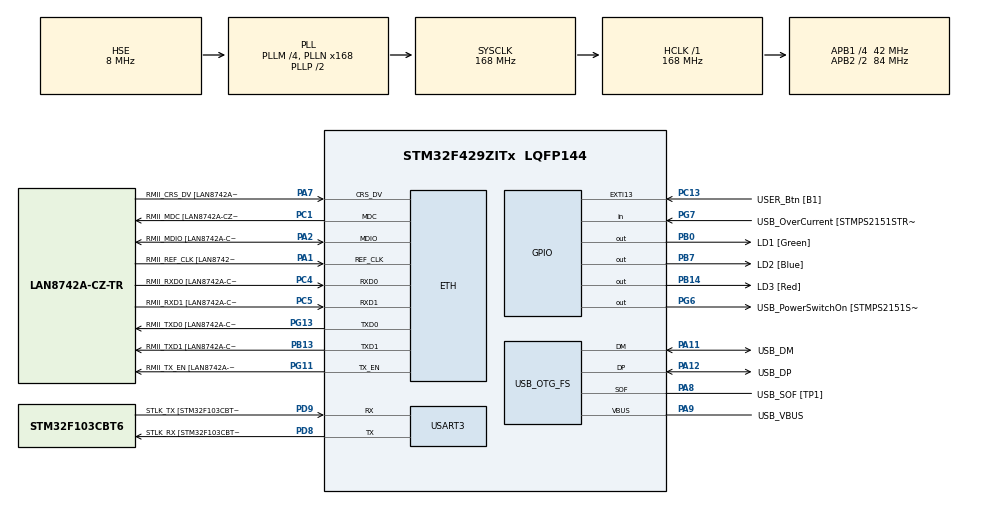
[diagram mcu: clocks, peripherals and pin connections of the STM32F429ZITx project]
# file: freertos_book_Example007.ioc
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ETH.MediaInterface=HAL_ETH_RMII_MODE
ETH.PHY_Name=LAN8742A_PHY_ADDRESS
ETH.PHY_Value=0
ETH.PhyAddress=0
FREERTOS.MEMORY_ALLOCATION=0
FREERTOS.Tasks01=defaultTask,0,128,StartDefaultTask,Default,NULL,Dynamic,NULL,NULL
FREERTOS.configUSE_IDLE_HOOK=1
FREERTOS.configUSE_NEWLIB_REENTRANT=1
Mcu.Family=STM32F4
Mcu.Name=STM32F429ZITx
Mcu.Package=LQFP144
NVIC.PriorityGroup=NVIC_PRIORITYGROUP_4
NVIC.TIM7_IRQn=true\:15\:0\:false\:false\:true\:false\:false\:true\:true
NVIC.TimeBase=TIM7_IRQn
NVIC.TimeBaseIP=TIM7
PA1.GPIO_Label=RMII_REF_CLK [LAN8742A-CZ-TR_REFCLK0]
PA1.Mode=RMII
PA1.Signal=ETH_REF_CLK
PA10.GPIO_Label=USB_ID
PA10.Signal=USB_OTG_FS_ID
PA11.GPIO_Label=USB_DM
PA11.Mode=Device_Only
PA11.Signal=USB_OTG_FS_DM
PA12.GPIO_Label=USB_DP
PA12.Mode=Device_Only
PA12.Signal=USB_OTG_FS_DP
PA13.GPIO_Label=TMS
PA13.Mode=Serial_Wire
PA13.Signal=SYS_JTMS-SWDIO
PA14.GPIO_Label=TCK
PA14.Mode=Serial_Wire
PA14.Signal=SYS_JTCK-SWCLK
PA2.GPIO_Label=RMII_MDIO [LAN8742A-CZ-TR_MDIO]
PA2.Mode=RMII
PA2.Signal=ETH_MDIO
PA7.GPIO_Label=RMII_CRS_DV [LAN8742A-CZ-TR_CRS_DV]
PA7.Mode=RMII
PA7.Signal=ETH_CRS_DV
PA8.GPIO_Label=USB_SOF [TP1]
PA8.Mode=Activate_SOF_FS
PA8.Signal=USB_OTG_FS_SOF
PA9.GPIO_Label=USB_VBUS
PA9.Mode=Activate_VBUS
PA9.Signal=USB_OTG_FS_VBUS
PB0.GPIO_Label=LD1 [Green]
PB0.Signal=GPIO_Output
PB13.GPIO_Label=RMII_TXD1 [LAN8742A-CZ-TR_TXD1]
PB13.Mode=RMII
PB13.Signal=ETH_TXD1
PB14.GPIO_Label=LD3 [Red]
PB14.Signal=GPIO_Output
PB7.GPIO_Label=LD2 [Blue]
PB7.Signal=GPIO_Output
PC1.GPIO_Label=RMII_MDC [LAN8742A-CZ-TR_MDC]
PC1.Mode=RMII
PC1.Signal=ETH_MDC
PC13.GPIO_Label=USER_Btn [B1]
PC13.Signal=GPXTI13
PC14/OSC32_IN.Mode=LSE-External-Oscillator
PC14/OSC32_IN.Signal=RCC_OSC32_IN
PC15/OSC32_OUT.Mode=LSE-External-Oscillator
PC15/OSC32_OUT.Signal=RCC_OSC32_OUT
PC4.GPIO_Label=RMII_RXD0 [LAN8742A-CZ-TR_RXD0]
PC4.Mode=RMII
PC4.Signal=ETH_RXD0
PC5.GPIO_Label=RMII_RXD1 [LAN8742A-CZ-TR_RXD1]
PC5.Mode=RMII
PC5.Signal=ETH_RXD1
PD8.GPIO_Label=STLK_RX [STM32F103CBT6_PA3]
PD8.Mode=Asynchronous
PD8.Signal=USART3_TX
PD9.GPIO_Label=STLK_TX [STM32F103CBT6_PA2]
PD9.Mode=Asynchronous
PD9.Signal=USART3_RX
PG11.GPIO_Label=RMII_TX_EN [LAN8742A-CZ-TR_TXEN]
PG11.Mode=RMII
PG11.Signal=ETH_TX_EN
PG13.GPIO_Label=RMII_TXD0 [LAN8742A-CZ-TR_TXD0]
PG13.Mode=RMII
PG13.Signal=ETH_TXD0
PG6.GPIO_Label=USB_PowerSwitchOn [STMPS2151STR_EN]
PG6.Signal=GPIO_Output
PG7.GPIO_Label=USB_OverCurrent [STMPS2151STR_FAULT]
PG7.Signal=GPIO_Input
PH0/OSC_IN.GPIO_Label=MCO [STM32F103CBT6_PA8]
PH0/OSC_IN.Mode=HSE-External-Clock-Source
PH0/OSC_IN.Signal=RCC_OSC_IN
PH1/OSC_OUT.Mode=HSE-External-Clock-Source
PH1/OSC_OUT.Signal=RCC_OSC_OUT
ProjectManager.HeapSize=0x200
ProjectManager.StackSize=0x400
ProjectManager.TargetToolchain=STM32CubeIDE
RCC.48MHZClocksFreq_Value=48000000
RCC.AHBFreq_Value=168000000
RCC.APB1CLKDivider=RCC_HCLK_DIV4
RCC.APB1Freq_Value=42000000
RCC.APB1TimFreq_Value=84000000
RCC.APB2CLKDivider=RCC_HCLK_DIV2
RCC.APB2Freq_Value=84000000
RCC.APB2TimCLKDivider=2
RCC.APB2TimFreq_Value=168000000
RCC.CortexFreq_Value=168000000
RCC.HCLKFreq_Value=168000000
RCC.HSE_VALUE=8000000
RCC.HSI_VALUE=16000000
RCC.PLLM=4
RCC.PLLMUL=RCC_PLL_MUL9
RCC.PLLN=168
RCC.PLLQ=7
RCC.PRESCALERUSB=RCC_USBCLKSOURCE_PLL_DIV1_5
RCC.SYSCLKFreq_VALUE=168000000
RCC.SYSCLKSource=RCC_SYSCLKSOURCE_PLLCLK
RCC.SYSCLKSourceVirtual=RCC_SYSCLKSOURCE_PLLCLK
RCC.USBFreq_Value=48000000
RCC.VCOOutputFreq_Value=336000000
USART3.VirtualMode=VM_ASYNC
USB_OTG_FS.VirtualMode=Device_Only
VP_FREERTOS_VS_CMSIS_V1.Mode=CMSIS_V1
VP_SYS_VS_tim7.Mode=TIM7
board=NUCLEO-F429ZI

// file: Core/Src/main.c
/* USER CODE BEGIN Header */
/**
  ******************************************************************************
  * @file           : main.c
  * @brief          : Main program body
  ******************************************************************************
  * @attention
  *
  * Copyright (c) 2022 STMicroelectronics.
  * All rights reserved.
  *
  * This software is licensed under terms that can be found in the LICENSE file
  * in the root directory of this software component.
  * If no LICENSE file comes with this software, it is provided AS-IS.
  *
  ******************************************************************************
  */
/* USER CODE END Header */
#include "main.h"
#include "string.h"
#include "cmsis_os.h"

/* USER CODE BEGIN Includes */
/* Standard includes. */
#include <stdio.h>
#include <stdlib.h>

/* Demo includes. */
#include "supportingFunctions.h"

/* USER CODE END Includes */

/* USER CODE BEGIN PM */
/* Define the strings that will be passed in as the task parameters.  These are
defined const and off the stack to ensure they remain valid when the tasks are
executing. */
const char *pcTextForTask1 = "Task 1 is running\r\n";
const char *pcTextForTask2 = "Task 2 is running\r\n";

/* USER CODE END PM */

ETH_TxPacketConfig TxConfig;
ETH_DMADescTypeDef  DMARxDscrTab[ETH_RX_DESC_CNT]; /* Ethernet Rx DMA Descriptors */
ETH_DMADescTypeDef  DMATxDscrTab[ETH_TX_DESC_CNT]; /* Ethernet Tx DMA Descriptors */

ETH_HandleTypeDef heth;

UART_HandleTypeDef huart3;

PCD_HandleTypeDef hpcd_USB_OTG_FS;

osThreadId defaultTaskHandle;

void SystemClock_Config(void);
static void MX_GPIO_Init(void);
static void MX_ETH_Init(void);
static void MX_USART3_UART_Init(void);
static void MX_USB_OTG_FS_PCD_Init(void);
void StartDefaultTask(void const * argument);

/* USER CODE BEGIN PFP */
void vTaskFunction(void * pvParameters);

/* A variable that is incremented by the idle task hook function. */
static uint32_t ulIdleCycleCount = 0UL;

/* USER CODE END PFP */

int main(void)
{
  /* USER CODE BEGIN 1 */
	const char *pcTextForMain = "freertos_book_Example007 is running: Defining an idle task hook function\r\n\n";

  /* USER CODE END 1 */

  /* MCU Configuration--------------------------------------------------------*/

  /* Reset of all peripherals, Initializes the Flash interface and the Systick. */
  HAL_Init();

  /* Configure the system clock */
  SystemClock_Config();

  /* Initialize all configured peripherals */
  MX_GPIO_Init();
  MX_ETH_Init();
  MX_USART3_UART_Init();
  MX_USB_OTG_FS_PCD_Init();
  /* USER CODE BEGIN 2 */
	/* Print out the name of this Example. */
	vPrintString( pcTextForMain );

  /* USER CODE END 2 */

  /* Create the thread(s) */
  /* definition and creation of defaultTask */
  osThreadDef(defaultTask, StartDefaultTask, osPriorityNormal, 0, 128);
  defaultTaskHandle = osThreadCreate(osThread(defaultTask), NULL);

  /* USER CODE BEGIN RTOS_THREADS */
  /* add threads, ... */
	BaseType_t ret;

	/* Task 1 thread at priority 1 */
	ret = xTaskCreate( vTaskFunction,				/* Pointer to the function thats implement the task. */
					   "Task 1",					/* Text name for the task. This is to facilitate debugging only. */
					   (2 * configMINIMAL_STACK_SIZE),	/* Stack depth in words. 				*/
	                   (void*)pcTextForTask1,    	/* Pass the text to be printed in as the task parameter. */
					   (tskIDLE_PRIORITY + 1UL),	/* This task will run at priority 1. 		*/
		               NULL );                   	/* We are not using the task handle. */

	/* Check the task was created successfully. */
	configASSERT( ret == pdPASS );

	/* Task 2 thread at priority 2 */
	ret = xTaskCreate( vTaskFunction,				/* Pointer to the function thats implement the task. */
					   "Task 2",					/* Text name for the task. This is to facilitate debugging only. */
					   (2 * configMINIMAL_STACK_SIZE),	/* Stack depth in words. 				*/
	                   (void*)pcTextForTask2,    	/* Pass the text to be printed in as the task parameter. */
					   (tskIDLE_PRIORITY + 2UL),	/* This task will run at priority 2. 		*/
		               NULL );

	/* Check the task was created successfully. */
	configASSERT( ret == pdPASS );

  /* USER CODE END RTOS_THREADS */

  /* Start scheduler */
  osKernelStart();

  /* We should never get here as control is now taken by the scheduler */
  /* Infinite loop */
  while (1)
  {

  }
}

void SystemClock_Config(void)
{
  RCC_OscInitTypeDef RCC_OscInitStruct = {0};
  RCC_ClkInitTypeDef RCC_ClkInitStruct = {0};

  /** Configure the main internal regulator output voltage
  */
  __HAL_RCC_PWR_CLK_ENABLE();
  __HAL_PWR_VOLTAGESCALING_CONFIG(PWR_REGULATOR_VOLTAGE_SCALE1);

  /** Initializes the RCC Oscillators according to the specified parameters
  * in the RCC_OscInitTypeDef structure.
  */
  RCC_OscInitStruct.OscillatorType = RCC_OSCILLATORTYPE_HSE;
  RCC_OscInitStruct.HSEState = RCC_HSE_BYPASS;
  RCC_OscInitStruct.PLL.PLLState = RCC_PLL_ON;
  RCC_OscInitStruct.PLL.PLLSource = RCC_PLLSOURCE_HSE;
  RCC_OscInitStruct.PLL.PLLM = 4;
  RCC_OscInitStruct.PLL.PLLN = 168;
  RCC_OscInitStruct.PLL.PLLP = RCC_PLLP_DIV2;
  RCC_OscInitStruct.PLL.PLLQ = 7;
  if (HAL_RCC_OscConfig(&RCC_OscInitStruct) != HAL_OK)
  {
    Error_Handler();
  }

  /** Initializes the CPU, AHB and APB buses clocks
  */
  RCC_ClkInitStruct.ClockType = RCC_CLOCKTYPE_HCLK|RCC_CLOCKTYPE_SYSCLK
                              |RCC_CLOCKTYPE_PCLK1|RCC_CLOCKTYPE_PCLK2;
  RCC_ClkInitStruct.SYSCLKSource = RCC_SYSCLKSOURCE_PLLCLK;
  RCC_ClkInitStruct.AHBCLKDivider = RCC_SYSCLK_DIV1;
  RCC_ClkInitStruct.APB1CLKDivider = RCC_HCLK_DIV4;
  RCC_ClkInitStruct.APB2CLKDivider = RCC_HCLK_DIV2;

  if (HAL_RCC_ClockConfig(&RCC_ClkInitStruct, FLASH_LATENCY_5) != HAL_OK)
  {
    Error_Handler();
  }
}

static void MX_ETH_Init(void)
{

   static uint8_t MACAddr[6];

  heth.Instance = ETH;
  MACAddr[0] = 0x00;
  MACAddr[1] = 0x80;
  MACAddr[2] = 0xE1;
  MACAddr[3] = 0x00;
  MACAddr[4] = 0x00;
  MACAddr[5] = 0x00;
  heth.Init.MACAddr = &MACAddr[0];
  heth.Init.MediaInterface = HAL_ETH_RMII_MODE;
  heth.Init.TxDesc = DMATxDscrTab;
  heth.Init.RxDesc = DMARxDscrTab;
  heth.Init.RxBuffLen = 1524;

  if (HAL_ETH_Init(&heth) != HAL_OK)
  {
    Error_Handler();
  }

  memset(&TxConfig, 0 , sizeof(ETH_TxPacketConfig));
  TxConfig.Attributes = ETH_TX_PACKETS_FEATURES_CSUM | ETH_TX_PACKETS_FEATURES_CRCPAD;
  TxConfig.ChecksumCtrl = ETH_CHECKSUM_IPHDR_PAYLOAD_INSERT_PHDR_CALC;
  TxConfig.CRCPadCtrl = ETH_CRC_PAD_INSERT;

}

static void MX_USART3_UART_Init(void)
{

  huart3.Instance = USART3;
  huart3.Init.BaudRate = 115200;
  huart3.Init.WordLength = UART_WORDLENGTH_8B;
  huart3.Init.StopBits = UART_STOPBITS_1;
  huart3.Init.Parity = UART_PARITY_NONE;
  huart3.Init.Mode = UART_MODE_TX_RX;
  huart3.Init.HwFlowCtl = UART_HWCONTROL_NONE;
  huart3.Init.OverSampling = UART_OVERSAMPLING_16;
  if (HAL_UART_Init(&huart3) != HAL_OK)
  {
    Error_Handler();
  }

}

static void MX_USB_OTG_FS_PCD_Init(void)
{

  hpcd_USB_OTG_FS.Instance = USB_OTG_FS;
  hpcd_USB_OTG_FS.Init.dev_endpoints = 4;
  hpcd_USB_OTG_FS.Init.speed = PCD_SPEED_FULL;
  hpcd_USB_OTG_FS.Init.dma_enable = DISABLE;
  hpcd_USB_OTG_FS.Init.phy_itface = PCD_PHY_EMBEDDED;
  hpcd_USB_OTG_FS.Init.Sof_enable = ENABLE;
  hpcd_USB_OTG_FS.Init.low_power_enable = DISABLE;
  hpcd_USB_OTG_FS.Init.lpm_enable = DISABLE;
  hpcd_USB_OTG_FS.Init.vbus_sensing_enable = ENABLE;
  hpcd_USB_OTG_FS.Init.use_dedicated_ep1 = DISABLE;
  if (HAL_PCD_Init(&hpcd_USB_OTG_FS) != HAL_OK)
  {
    Error_Handler();
  }

}

static void MX_GPIO_Init(void)
{
  GPIO_InitTypeDef GPIO_InitStruct = {0};

  /* GPIO Ports Clock Enable */
  __HAL_RCC_GPIOC_CLK_ENABLE();
  __HAL_RCC_GPIOH_CLK_ENABLE();
  __HAL_RCC_GPIOA_CLK_ENABLE();
  __HAL_RCC_GPIOB_CLK_ENABLE();
  __HAL_RCC_GPIOD_CLK_ENABLE();
  __HAL_RCC_GPIOG_CLK_ENABLE();

  /*Configure GPIO pin Output Level */
  HAL_GPIO_WritePin(GPIOB, LD1_Pin|LD3_Pin|LD2_Pin, GPIO_PIN_RESET);

  /*Configure GPIO pin Output Level */
  HAL_GPIO_WritePin(USB_PowerSwitchOn_GPIO_Port, USB_PowerSwitchOn_Pin, GPIO_PIN_RESET);

  /*Configure GPIO pin : USER_Btn_Pin */
  GPIO_InitStruct.Pin = USER_Btn_Pin;
  GPIO_InitStruct.Mode = GPIO_MODE_IT_RISING;
  GPIO_InitStruct.Pull = GPIO_NOPULL;
  HAL_GPIO_Init(USER_Btn_GPIO_Port, &GPIO_InitStruct);

  /*Configure GPIO pins : LD1_Pin LD3_Pin LD2_Pin */
  GPIO_InitStruct.Pin = LD1_Pin|LD3_Pin|LD2_Pin;
  GPIO_InitStruct.Mode = GPIO_MODE_OUTPUT_PP;
  GPIO_InitStruct.Pull = GPIO_NOPULL;
  GPIO_InitStruct.Speed = GPIO_SPEED_FREQ_LOW;
  HAL_GPIO_Init(GPIOB, &GPIO_InitStruct);

  /*Configure GPIO pin : USB_PowerSwitchOn_Pin */
  GPIO_InitStruct.Pin = USB_PowerSwitchOn_Pin;
  GPIO_InitStruct.Mode = GPIO_MODE_OUTPUT_PP;
  GPIO_InitStruct.Pull = GPIO_NOPULL;
  GPIO_InitStruct.Speed = GPIO_SPEED_FREQ_LOW;
  HAL_GPIO_Init(USB_PowerSwitchOn_GPIO_Port, &GPIO_InitStruct);

  /*Configure GPIO pin : USB_OverCurrent_Pin */
  GPIO_InitStruct.Pin = USB_OverCurrent_Pin;
  GPIO_InitStruct.Mode = GPIO_MODE_INPUT;
  GPIO_InitStruct.Pull = GPIO_NOPULL;
  HAL_GPIO_Init(USB_OverCurrent_GPIO_Port, &GPIO_InitStruct);

}

/* USER CODE BEGIN 4 */
/* Idle hook functions MUST be called vApplicationIdleHook(), take no parameters,
and return void. */
void vApplicationIdleHook( void )
{
	/* This hook function does nothing but increment a counter. */
	ulIdleCycleCount++;
}

/* USER CODE BEGIN Header_vTaskFunction */
/**
  * @brief  Function implementing the Task1 thread.
  * @param  argument: Not used
  * @retval None
  */
/* USER CODE END Header_vTaskFunction */
void vTaskFunction( void * pvParameters )
{
	char *pcTaskName;
	const TickType_t xDelay250ms = pdMS_TO_TICKS( 250UL );

	/* The string to print out is passed in via the parameter.  Cast this to a
	character pointer. */
	pcTaskName = ( char * ) pvParameters;

	/* As per most tasks, this task is implemented in an infinite loop. */
	for( ;; )
	{
		/* Print out the name of this task AND the number of times ulIdleCycleCount
	    has been incremented. */
		vPrintStringAndNumber( pcTaskName, ulIdleCycleCount );

	    /* Delay for a period.  This time we use a call to vTaskDelay() which
	    puts the task into the Blocked state until the delay period has expired.
	    The delay period is specified in 'ticks'. */
	    vTaskDelay( xDelay250ms );
	}
}

/* USER CODE END 4 */

void StartDefaultTask(void const * argument)
{
  /* USER CODE BEGIN 5 */
  /* Infinite loop */
  for(;;)
  {
    osDelay(50000);
  }
  /* USER CODE END 5 */
}

void HAL_TIM_PeriodElapsedCallback(TIM_HandleTypeDef *htim)
{
  if (htim->Instance == TIM7) {
    HAL_IncTick();
  }
}

void Error_Handler(void)
{
  __disable_irq();
  while (1)
  {
  }
}

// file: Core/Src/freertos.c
/* USER CODE BEGIN Header */
/**
  ******************************************************************************
  * File Name          : freertos.c
  * Description        : Code for freertos applications
  ******************************************************************************
  * @attention
  *
  * Copyright (c) 2022 STMicroelectronics.
  * All rights reserved.
  *
  * This software is licensed under terms that can be found in the LICENSE file
  * in the root directory of this software component.
  * If no LICENSE file comes with this software, it is provided AS-IS.
  *
  ******************************************************************************
  */
/* USER CODE END Header */

#include "FreeRTOS.h"
#include "task.h"
#include "main.h"

/* Hook prototypes */
void vApplicationIdleHook(void);

/* USER CODE BEGIN 2 */
__weak void vApplicationIdleHook( void )
{
   /* vApplicationIdleHook() will only be called if configUSE_IDLE_HOOK is set
   to 1 in FreeRTOSConfig.h. It will be called on each iteration of the idle
   task. It is essential that code added to this hook function never attempts
   to block in any way (for example, call xQueueReceive() with a block time
   specified, or call vTaskDelay()). If the application makes use of the
   vTaskDelete() API function (as this demo application does) then it is also
   important that vApplicationIdleHook() is permitted to return to its calling
   function, because it is the responsibility of the idle task to clean up
   memory allocated by the kernel to any task that has since been deleted. */
}
/* USER CODE END 2 */
